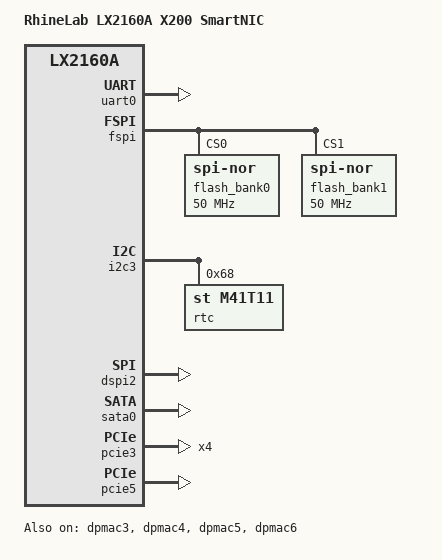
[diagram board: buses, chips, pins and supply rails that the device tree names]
// SPDX-License-Identifier: GPL-2.0+ OR X11
/* X200: board_profile_id=x200-s1_12-s2_05-s3_02-v1 */

/dts-v1/;

#include "fsl-lx2160a.dtsi"

/ {
	model = "RhineLab LX2160A X200 SmartNIC";
	compatible = "rhinelab,lx2160a-x200", "fsl,lx2160a";
	rhinelab,board-profile-id = "x200-s1_12-s2_05-s3_02-v1";

	aliases {
		serial0 = &uart0;
		spi0 = &fspi;
		spi1 = &dspi2;
	};

	/* hardware-evidence-v1: x200-psci-smc-reset-contract */
	psci {
		compatible = "arm,psci-1.0", "arm,psci-0.2";
		method = "smc";
	};

	chosen {
		stdout-path = "serial0:115200n8";
	};

	reserved-memory {
		#address-cells = <2>;
		#size-cells = <2>;
		ranges;

		pcie_ep_memory: pcie-ep-memory@94000000 {
			reg = <0x0 0x94000000 0x0 0x00010000>;
			no-map;
		};
	};
};

&uart0 {
	status = "okay";
};

/* D11 and D12 are independent 16 MB devices, not one 32 MB device. */
&fspi {
	status = "okay";

	flash_bank0: flash@0 {
		compatible = "jedec,spi-nor";
		reg = <0>;
		spi-max-frequency = <50000000>;
	};

	flash_bank1: flash@1 {
		compatible = "jedec,spi-nor";
		reg = <1>;
		spi-max-frequency = <50000000>;
	};
};

/* hardware-evidence-v1.json: x200-no-board-eeprom-storage.
 * The unverified board EEPROM is omitted; RTC remains available.
 */
&i2c3 {
	status = "okay";

	rtc@68 {
		compatible = "st,m41t11";
		reg = <0x68>;
	};
};

&dspi2 {
	spi-num-chipselects = <4>;
	status = "okay";
};

/* Keep the driver available for inspection, but never arm it automatically. */
&{/watchdog@23a0000} {
	u-boot,noautostart;
};

&sata0 {
	status = "okay";
};

/*
 * hardware-evidence-v1.json: x200-dual-rate-native18-design
 *
 * Native18: DPMAC3/4 XFI; DPMAC5/6 CAUI. x200-dual-rate-native18-design
 * There is no external PHY or retimer to describe here.  Enabling the MC
 * DPMAC children lets U-Boot bind its DPAA2 Ethernet devices and avoids the
 * misleading early "No ethernet found" report.
 */
&dpmac3 {
	status = "okay";
	phy-connection-type = "xgmii";
};

&dpmac4 {
	status = "okay";
	phy-connection-type = "xgmii";
};

&dpmac5 {
	status = "okay";
	phy-connection-type = "25g-aui";
};

&dpmac6 {
	status = "okay";
	phy-connection-type = "25g-aui";
};

/* X200 exposes no SoC USB connector; keep both USB blocks quiescent. */
&usb0 { status = "disabled"; };
&usb1 { status = "disabled"; };

/* PCIe3 root complex and the separate host-facing PCIe5 endpoint. */
&pcie1 { status = "disabled"; };
&pcie2 { status = "disabled"; };
/* hardware-evidence-v1.json: x200-serdes2-gen3-design.
 * Generic Rev2 DWC resources consumed by pcie_layerscape_rc.c.
 * RC enumeration also supplies Linux requester-ID/MSI/IOMMU fixups.
 */
&pcie3 {
	compatible = "fsl,ls-pcie";
	reg = <0x00 0x03600000 0x0 0x00080000>,
	      <0x00 0x03680000 0x0 0x00040000>,
	      <0x00 0x036c0000 0x0 0x00040000>,
	      <0x90 0x00000000 0x0 0x00002000>;
	reg-names = "regs", "lut", "ctrl", "config";
	num-lanes = <4>;
	max-link-speed = <3>;
	status = "okay";
};
&pcie4 { status = "disabled"; };
/*
 * hardware-evidence-v1.json: board-lx2160a-rev2,
 * board-pcie5-x8-endpoint, x200-pcie-persistent-linux-publication-design.
 * Generic LX2160A Rev2 register interfaces, not an RDB board description.
 * DWC EP U-Boot resources are DBI index0, PF-control index1, named addr_space.
 * The outbound CPU aperture is described but no outbound ATU is enabled.
 */
&pcie5 {
	compatible = "fsl,lx2160ar2-pcie-ep";
	reg = <0x00 0x03800000 0x0 0x00080000>,
	      <0x00 0x038c0000 0x0 0x00040000>,
	      <0xa0 0x00000000 0x8 0x00000000>;
	reg-names = "regs", "pf_ctrl", "addr_space";
	/delete-property/ device_type;
	/delete-property/ bus-range;
	/delete-property/ ranges;
	/delete-property/ #address-cells;
	/delete-property/ #size-cells;
	memory-region = <&pcie_ep_memory>;
	max-functions = <2>;
	status = "okay";
};
&pcie6 { status = "disabled"; };
